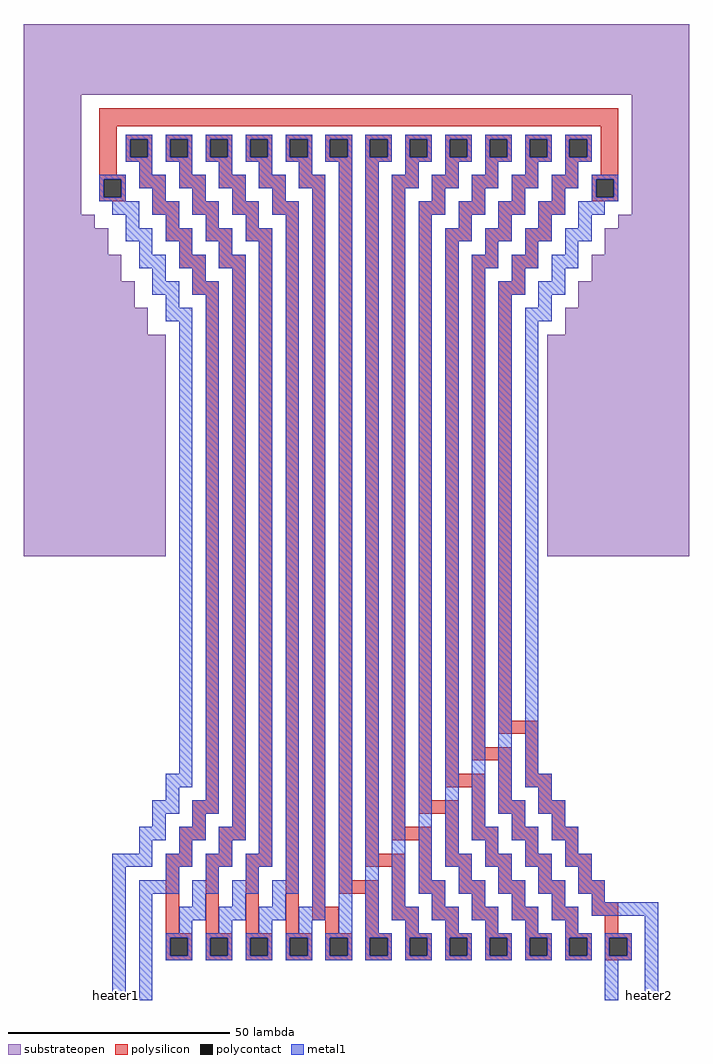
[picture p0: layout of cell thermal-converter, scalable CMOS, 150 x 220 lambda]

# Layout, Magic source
magic
tech scmos
<< polysilicon >>
rect 1 87 118 91
rect 1 76 5 87
rect 7 84 13 85
rect 7 80 8 84
rect 12 80 13 84
rect 7 79 13 80
rect 16 84 22 85
rect 16 80 17 84
rect 21 80 22 84
rect 16 79 22 80
rect 25 84 31 85
rect 25 80 26 84
rect 30 80 31 84
rect 25 79 31 80
rect 34 84 40 85
rect 34 80 35 84
rect 39 80 40 84
rect 34 79 40 80
rect 43 84 49 85
rect 43 80 44 84
rect 48 80 49 84
rect 43 79 49 80
rect 52 84 58 85
rect 52 80 53 84
rect 57 80 58 84
rect 52 79 58 80
rect 10 76 13 79
rect 19 76 22 79
rect 28 76 31 79
rect 37 76 40 79
rect 46 76 49 79
rect 1 75 7 76
rect 1 71 2 75
rect 6 71 7 75
rect 10 73 16 76
rect 19 73 25 76
rect 28 73 34 76
rect 37 73 43 76
rect 46 73 52 76
rect 1 70 7 71
rect 13 70 16 73
rect 22 70 25 73
rect 31 70 34 73
rect 40 70 43 73
rect 13 67 19 70
rect 22 67 28 70
rect 31 67 37 70
rect 40 67 46 70
rect 16 64 19 67
rect 25 64 28 67
rect 34 64 37 67
rect 16 61 22 64
rect 25 61 31 64
rect 34 61 40 64
rect 19 58 22 61
rect 28 58 31 61
rect 19 55 25 58
rect 28 55 34 58
rect 22 52 25 55
rect 22 49 28 52
rect 25 -65 28 49
rect 22 -68 28 -65
rect 22 -71 25 -68
rect 31 -71 34 55
rect 19 -74 25 -71
rect 28 -74 34 -71
rect 19 -77 22 -74
rect 28 -77 31 -74
rect 37 -77 40 61
rect 16 -80 22 -77
rect 25 -80 31 -77
rect 34 -80 40 -77
rect 16 -95 19 -80
rect 25 -95 28 -80
rect 34 -95 37 -80
rect 43 -95 46 67
rect 49 -89 52 73
rect 55 -83 58 79
rect 61 84 67 85
rect 61 80 62 84
rect 66 80 67 84
rect 61 79 67 80
rect 70 84 76 85
rect 70 80 71 84
rect 75 80 76 84
rect 70 79 76 80
rect 79 84 85 85
rect 79 80 80 84
rect 84 80 85 84
rect 79 79 85 80
rect 88 84 94 85
rect 88 80 89 84
rect 93 80 94 84
rect 88 79 94 80
rect 97 84 103 85
rect 97 80 98 84
rect 102 80 103 84
rect 97 79 103 80
rect 106 84 112 85
rect 106 80 107 84
rect 111 80 112 84
rect 106 79 112 80
rect 61 -77 64 79
rect 70 76 73 79
rect 79 76 82 79
rect 88 76 91 79
rect 97 76 100 79
rect 106 76 109 79
rect 114 76 118 87
rect 67 73 73 76
rect 76 73 82 76
rect 85 73 91 76
rect 94 73 100 76
rect 103 73 109 76
rect 112 75 118 76
rect 67 -71 70 73
rect 76 70 79 73
rect 85 70 88 73
rect 94 70 97 73
rect 103 70 106 73
rect 112 71 113 75
rect 117 71 118 75
rect 112 70 118 71
rect 73 67 79 70
rect 82 67 88 70
rect 91 67 97 70
rect 100 67 106 70
rect 73 -65 76 67
rect 82 64 85 67
rect 91 64 94 67
rect 100 64 103 67
rect 79 61 85 64
rect 88 61 94 64
rect 97 61 103 64
rect 79 -59 82 61
rect 88 58 91 61
rect 97 58 100 61
rect 85 55 91 58
rect 94 55 100 58
rect 85 -53 88 55
rect 94 52 97 55
rect 91 49 97 52
rect 91 -47 94 49
rect 91 -50 100 -47
rect 85 -56 94 -53
rect 79 -62 88 -59
rect 73 -68 82 -65
rect 67 -74 76 -71
rect 61 -80 70 -77
rect 55 -86 64 -83
rect 49 -92 55 -89
rect 52 -95 55 -92
rect 61 -95 64 -86
rect 67 -89 70 -80
rect 73 -83 76 -74
rect 79 -77 82 -68
rect 85 -71 88 -62
rect 91 -65 94 -56
rect 97 -59 100 -50
rect 97 -62 103 -59
rect 100 -65 103 -62
rect 91 -68 97 -65
rect 100 -68 106 -65
rect 94 -71 97 -68
rect 103 -71 106 -68
rect 85 -74 91 -71
rect 94 -74 100 -71
rect 103 -74 109 -71
rect 88 -77 91 -74
rect 97 -77 100 -74
rect 106 -77 109 -74
rect 79 -80 85 -77
rect 88 -80 94 -77
rect 97 -80 103 -77
rect 106 -80 112 -77
rect 82 -83 85 -80
rect 91 -83 94 -80
rect 100 -83 103 -80
rect 109 -83 112 -80
rect 73 -86 79 -83
rect 82 -86 88 -83
rect 91 -86 97 -83
rect 100 -86 106 -83
rect 109 -86 115 -83
rect 76 -89 79 -86
rect 85 -89 88 -86
rect 94 -89 97 -86
rect 103 -89 106 -86
rect 112 -88 115 -86
rect 67 -92 73 -89
rect 76 -92 82 -89
rect 85 -92 91 -89
rect 94 -92 100 -89
rect 103 -92 109 -89
rect 112 -91 118 -88
rect 70 -95 73 -92
rect 79 -95 82 -92
rect 88 -95 91 -92
rect 97 -95 100 -92
rect 106 -95 109 -92
rect 115 -95 118 -91
rect 16 -96 22 -95
rect 16 -100 17 -96
rect 21 -100 22 -96
rect 16 -101 22 -100
rect 25 -96 31 -95
rect 25 -100 26 -96
rect 30 -100 31 -96
rect 25 -101 31 -100
rect 34 -96 40 -95
rect 34 -100 35 -96
rect 39 -100 40 -96
rect 34 -101 40 -100
rect 43 -96 49 -95
rect 43 -100 44 -96
rect 48 -100 49 -96
rect 43 -101 49 -100
rect 52 -96 58 -95
rect 52 -100 53 -96
rect 57 -100 58 -96
rect 52 -101 58 -100
rect 61 -96 67 -95
rect 61 -100 62 -96
rect 66 -100 67 -96
rect 61 -101 67 -100
rect 70 -96 76 -95
rect 70 -100 71 -96
rect 75 -100 76 -96
rect 70 -101 76 -100
rect 79 -96 85 -95
rect 79 -100 80 -96
rect 84 -100 85 -96
rect 79 -101 85 -100
rect 88 -96 94 -95
rect 88 -100 89 -96
rect 93 -100 94 -96
rect 88 -101 94 -100
rect 97 -96 103 -95
rect 97 -100 98 -96
rect 102 -100 103 -96
rect 97 -101 103 -100
rect 106 -96 112 -95
rect 106 -100 107 -96
rect 111 -100 112 -96
rect 106 -101 112 -100
rect 115 -96 121 -95
rect 115 -100 116 -96
rect 120 -100 121 -96
rect 115 -101 121 -100
<< metal1 >>
rect 7 84 13 85
rect 7 80 8 84
rect 12 80 13 84
rect 7 79 13 80
rect 16 84 22 85
rect 16 80 17 84
rect 21 80 22 84
rect 16 79 22 80
rect 25 84 31 85
rect 25 80 26 84
rect 30 80 31 84
rect 25 79 31 80
rect 34 84 40 85
rect 34 80 35 84
rect 39 80 40 84
rect 34 79 40 80
rect 43 84 49 85
rect 43 80 44 84
rect 48 80 49 84
rect 43 79 49 80
rect 52 84 58 85
rect 52 80 53 84
rect 57 80 58 84
rect 52 79 58 80
rect 10 76 13 79
rect 19 76 22 79
rect 28 76 31 79
rect 37 76 40 79
rect 46 76 49 79
rect 1 75 7 76
rect 1 71 2 75
rect 6 71 7 75
rect 10 73 16 76
rect 19 73 25 76
rect 28 73 34 76
rect 37 73 43 76
rect 46 73 52 76
rect 1 70 7 71
rect 13 70 16 73
rect 22 70 25 73
rect 31 70 34 73
rect 40 70 43 73
rect 4 67 10 70
rect 13 67 19 70
rect 22 67 28 70
rect 31 67 37 70
rect 40 67 46 70
rect 7 64 10 67
rect 16 64 19 67
rect 25 64 28 67
rect 34 64 37 67
rect 7 61 13 64
rect 16 61 22 64
rect 25 61 31 64
rect 34 61 40 64
rect 10 58 13 61
rect 19 58 22 61
rect 28 58 31 61
rect 10 55 16 58
rect 19 55 25 58
rect 28 55 34 58
rect 13 52 16 55
rect 22 52 25 55
rect 13 49 19 52
rect 22 49 28 52
rect 16 46 19 49
rect 16 43 22 46
rect 19 -59 22 43
rect 16 -62 22 -59
rect 16 -65 19 -62
rect 25 -65 28 49
rect 13 -68 19 -65
rect 22 -68 28 -65
rect 13 -71 16 -68
rect 22 -71 25 -68
rect 31 -71 34 55
rect 10 -74 16 -71
rect 19 -74 25 -71
rect 28 -74 34 -71
rect 10 -77 13 -74
rect 19 -77 22 -74
rect 28 -77 31 -74
rect 37 -77 40 61
rect 4 -80 13 -77
rect 16 -80 22 -77
rect 25 -80 31 -77
rect 34 -80 40 -77
rect 4 -110 7 -80
rect 16 -83 19 -80
rect 25 -83 28 -80
rect 34 -83 37 -80
rect 43 -83 46 67
rect 10 -86 19 -83
rect 22 -86 28 -83
rect 31 -86 37 -83
rect 40 -86 46 -83
rect 10 -110 13 -86
rect 22 -89 25 -86
rect 31 -89 34 -86
rect 40 -89 43 -86
rect 49 -89 52 73
rect 19 -92 25 -89
rect 28 -92 34 -89
rect 37 -92 43 -89
rect 46 -92 52 -89
rect 19 -95 22 -92
rect 28 -95 31 -92
rect 37 -95 40 -92
rect 46 -95 49 -92
rect 55 -95 58 79
rect 16 -96 22 -95
rect 16 -100 17 -96
rect 21 -100 22 -96
rect 16 -101 22 -100
rect 25 -96 31 -95
rect 25 -100 26 -96
rect 30 -100 31 -96
rect 25 -101 31 -100
rect 34 -96 40 -95
rect 34 -100 35 -96
rect 39 -100 40 -96
rect 34 -101 40 -100
rect 43 -96 49 -95
rect 43 -100 44 -96
rect 48 -100 49 -96
rect 43 -101 49 -100
rect 52 -96 58 -95
rect 52 -100 53 -96
rect 57 -100 58 -96
rect 52 -101 58 -100
rect 61 84 67 85
rect 61 80 62 84
rect 66 80 67 84
rect 61 79 67 80
rect 70 84 76 85
rect 70 80 71 84
rect 75 80 76 84
rect 70 79 76 80
rect 79 84 85 85
rect 79 80 80 84
rect 84 80 85 84
rect 79 79 85 80
rect 88 84 94 85
rect 88 80 89 84
rect 93 80 94 84
rect 88 79 94 80
rect 97 84 103 85
rect 97 80 98 84
rect 102 80 103 84
rect 97 79 103 80
rect 106 84 112 85
rect 106 80 107 84
rect 111 80 112 84
rect 106 79 112 80
rect 61 -95 64 79
rect 70 76 73 79
rect 79 76 82 79
rect 88 76 91 79
rect 97 76 100 79
rect 106 76 109 79
rect 67 73 73 76
rect 76 73 82 76
rect 85 73 91 76
rect 94 73 100 76
rect 103 73 109 76
rect 112 75 118 76
rect 67 -89 70 73
rect 76 70 79 73
rect 85 70 88 73
rect 94 70 97 73
rect 103 70 106 73
rect 112 71 113 75
rect 117 71 118 75
rect 112 70 118 71
rect 73 67 79 70
rect 82 67 88 70
rect 91 67 97 70
rect 100 67 106 70
rect 109 67 115 70
rect 73 -83 76 67
rect 82 64 85 67
rect 91 64 94 67
rect 100 64 103 67
rect 109 64 112 67
rect 79 61 85 64
rect 88 61 94 64
rect 97 61 103 64
rect 106 61 112 64
rect 79 -77 82 61
rect 88 58 91 61
rect 97 58 100 61
rect 106 58 109 61
rect 85 55 91 58
rect 94 55 100 58
rect 103 55 109 58
rect 85 -71 88 55
rect 94 52 97 55
rect 103 52 106 55
rect 91 49 97 52
rect 100 49 106 52
rect 91 -65 94 49
rect 100 46 103 49
rect 97 43 103 46
rect 97 -59 100 43
rect 97 -62 103 -59
rect 100 -65 103 -62
rect 91 -68 97 -65
rect 100 -68 106 -65
rect 94 -71 97 -68
rect 103 -71 106 -68
rect 85 -74 91 -71
rect 94 -74 100 -71
rect 103 -74 109 -71
rect 88 -77 91 -74
rect 97 -77 100 -74
rect 106 -77 109 -74
rect 79 -80 85 -77
rect 88 -80 94 -77
rect 97 -80 103 -77
rect 106 -80 112 -77
rect 82 -83 85 -80
rect 91 -83 94 -80
rect 100 -83 103 -80
rect 109 -83 112 -80
rect 73 -86 79 -83
rect 82 -86 88 -83
rect 91 -86 97 -83
rect 100 -86 106 -83
rect 109 -86 115 -83
rect 76 -89 79 -86
rect 85 -89 88 -86
rect 94 -89 97 -86
rect 103 -89 106 -86
rect 112 -88 115 -86
rect 67 -92 73 -89
rect 76 -92 82 -89
rect 85 -92 91 -89
rect 94 -92 100 -89
rect 103 -92 109 -89
rect 112 -91 127 -88
rect 70 -95 73 -92
rect 79 -95 82 -92
rect 88 -95 91 -92
rect 97 -95 100 -92
rect 106 -95 109 -92
rect 61 -96 67 -95
rect 61 -100 62 -96
rect 66 -100 67 -96
rect 61 -101 67 -100
rect 70 -96 76 -95
rect 70 -100 71 -96
rect 75 -100 76 -96
rect 70 -101 76 -100
rect 79 -96 85 -95
rect 79 -100 80 -96
rect 84 -100 85 -96
rect 79 -101 85 -100
rect 88 -96 94 -95
rect 88 -100 89 -96
rect 93 -100 94 -96
rect 88 -101 94 -100
rect 97 -96 103 -95
rect 97 -100 98 -96
rect 102 -100 103 -96
rect 97 -101 103 -100
rect 106 -96 112 -95
rect 106 -100 107 -96
rect 111 -100 112 -96
rect 106 -101 112 -100
rect 115 -96 121 -95
rect 115 -100 116 -96
rect 120 -100 121 -96
rect 115 -101 121 -100
rect 115 -110 118 -101
rect 124 -110 127 -91
<< polycontact >>
rect 8 80 12 84
rect 17 80 21 84
rect 26 80 30 84
rect 35 80 39 84
rect 44 80 48 84
rect 53 80 57 84
rect 2 71 6 75
rect 62 80 66 84
rect 71 80 75 84
rect 80 80 84 84
rect 89 80 93 84
rect 98 80 102 84
rect 107 80 111 84
rect 113 71 117 75
rect 17 -100 21 -96
rect 26 -100 30 -96
rect 35 -100 39 -96
rect 44 -100 48 -96
rect 53 -100 57 -96
rect 62 -100 66 -96
rect 71 -100 75 -96
rect 80 -100 84 -96
rect 89 -100 93 -96
rect 98 -100 102 -96
rect 107 -100 111 -96
rect 116 -100 120 -96
<< substrateopen >>
rect -16 94 134 110
rect -16 67 -3 94
rect 121 67 134 94
rect -16 64 0 67
rect 118 64 134 67
rect -16 58 3 64
rect 115 58 134 64
rect -16 52 6 58
rect 112 52 134 58
rect -16 46 9 52
rect 109 46 134 52
rect -16 40 12 46
rect 106 40 134 46
rect -16 -10 16 40
rect 102 -10 134 40
<< labels >>
rlabel metal1 125 -109 125 -109 8 heater2
rlabel metal1 5 -109 5 -109 8 heater1
rlabel metal1 11 -109 11 -109 8 Vmeas1
rlabel metal1 116 -109 116 -109 8 Vmeas2
<< end >>
